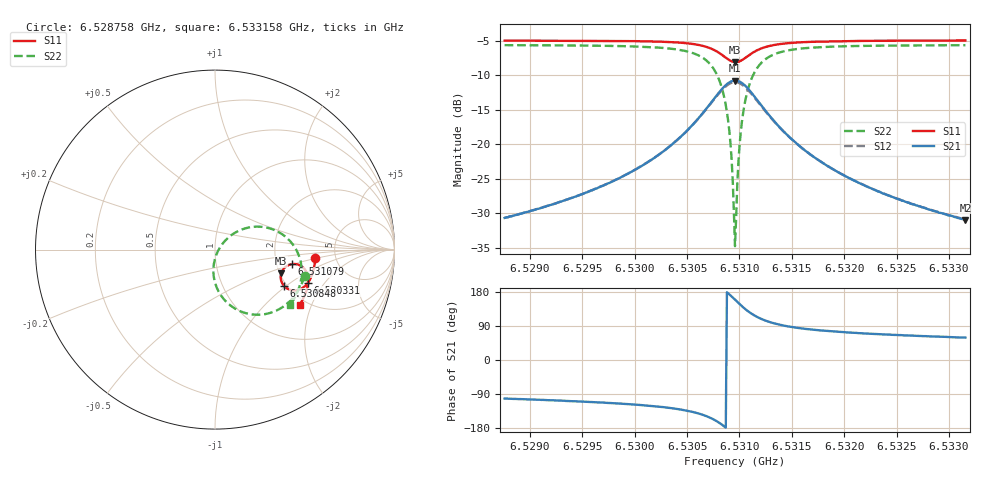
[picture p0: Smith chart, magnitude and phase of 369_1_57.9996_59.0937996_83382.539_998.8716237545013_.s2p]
#  HZ  S  RI  R  50.00
! Rohde & Schwarz Vector Network Analyzer
! Rohde-Schwarz,ZNB20-2Port,1311601062101988,3.16
! Created: UTC 3/21/2024, 1:06:50 AM
! freq[Hz]  re:S11  im:S11  re:S21  im:S21  re:S12  im:S12  re:S22  im:S22
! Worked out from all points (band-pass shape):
!   401 points, 6.528758 GHz to 6.533158 GHz, reference 50 ohm
!   highest |S21| = -10.78 dB at 6.530958 GHz (marker M1); lowest = -30.9 dB at 6.533158 GHz (marker M2)
!   |S21| within 3 dB of the highest: 6.530739 GHz to 6.531179 GHz (439.7 kHz wide, 0.00673 % of centre)
!   lowest |S11| = -8.1 dB at 6.530958 GHz (marker M3), VSWR 2.29, Z = 102 - j32 ohm
!   |S11| at or under -10 dB: nowhere
!   |S22| runs from -34.7 to -5.7 dB; largest |S21 - S12| = 0.011
!   S11 on the Smith chart (normalised r, x): 6.528758 GHz: 3.50, -0.45; 6.530331 GHz: 2.59, -1.39; 6.530848 GHz: 1.93, -0.97; 6.531079 GHz: 2.42, -0.48; 6.533158 GHz: 1.82, -1.65
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6.5287584e9  0.5596 -0.0444  -0.00599 -0.0287  -0.00651 -0.0287  0.4996 -0.1476
6.5294953e9  0.5505 -0.105  -0.0147 -0.0409  -0.0155 -0.0407  0.4709 -0.2147
6.5302321e9  0.5237 -0.1761  -0.0461 -0.0706  -0.048 -0.0694  0.3944 -0.3075
6.5303311e9  0.516 -0.1876  -0.057 -0.0773  -0.0592 -0.0759  0.3714 -0.3239
6.530683e9  0.4531 -0.227  -0.1531 -0.0957  -0.1552 -0.0899  0.1886 -0.3582
6.530782e9  0.4143 -0.2226  -0.2134 -0.0723  -0.2131 -0.0638  0.0854 -0.3109
6.530848e9  0.3853 -0.2029  -0.2565 -0.0283  -0.2525 -0.0191  0.0181 -0.2298
6.530903e9  0.3685 -0.1719  -0.278 0.0318  -0.2707 0.0394  -0.00898 -0.1262
6.530925e9  0.3662 -0.1566  -0.2793 0.0601  -0.2705 0.0663  -0.00618 -0.0791
6.530936e9  0.3663 -0.1487  -0.2777 0.0746  -0.2684 0.0799  -0.00118 -0.0557
6.530947e9  0.3671 -0.1407  -0.2747 0.0889  -0.2651 0.0934  0.00598 -0.0324
6.530958e9  0.3689 -0.1329  -0.2702 0.1031  -0.2605 0.1067  0.0155 -0.00989
6.530969e9  0.3716 -0.1253  -0.2643 0.1167  -0.2546 0.1193  0.0274 0.0114
6.53098e9  0.375 -0.1183  -0.257 0.1294  -0.2475 0.1314  0.041 0.0315
6.531002e9  0.3841 -0.1052  -0.2396 0.1525  -0.2304 0.1527  0.0736 0.0665
6.531024e9  0.3952 -0.0949  -0.2185 0.1711  -0.2102 0.1699  0.1109 0.0938
6.531079e9  0.4267 -0.081  -0.1613 0.1964  -0.1556 0.1937  0.2102 0.1267
6.531156e9  0.4653 -0.0844  -0.0931 0.1946  -0.0903 0.192  0.3247 0.1116
6.5312659e9  0.4981 -0.1069  -0.0358 0.1648  -0.0343 0.1633  0.4185 0.0473
6.5316949e9  0.5198 -0.1829  0.014 0.0814  0.015 0.081  0.4831 -0.1299
6.5324317e9  0.4995 -0.2555  0.0167 0.0391  0.0173 0.0389  0.4555 -0.2453
6.5331576e9  0.4714 -0.3085  0.0145 0.0244  0.0151 0.0243  0.4201 -0.3074
